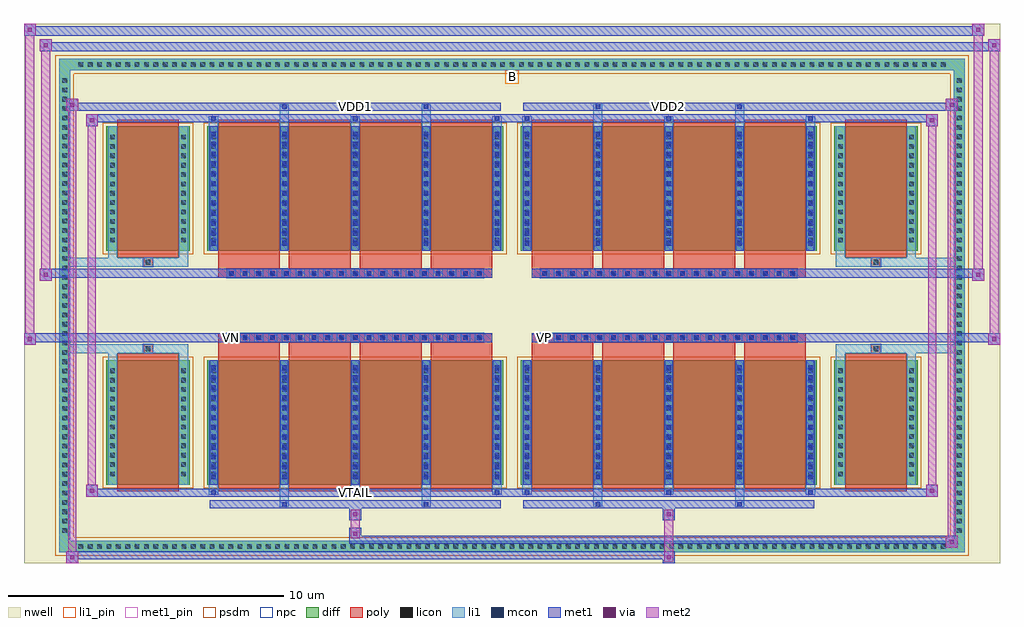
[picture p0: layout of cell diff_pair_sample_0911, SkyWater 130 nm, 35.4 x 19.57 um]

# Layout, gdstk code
import gdstk
lib = gdstk.Library(unit=1e-6, precision=5e-09)
def R(c, l, rs):  # rectangles x0, y0, x1, y1
    for r in rs: c.add(gdstk.rectangle(r[:2], r[2:], *l))
def A(c, l, x, y, w, h, nx, ny, dx, dy):  # array of equal rectangles
    R(c, l, [(x+i*dx, y+j*dy, x+i*dx+w, y+j*dy+h) for i in range(nx) for j in range(ny)])
def P(c, l, *ps):  # polygons
    for p in ps: c.add(gdstk.Polygon(p, *l))
nwell = (64, 20)
diff = (65, 20)
poly = (66, 20)
licon = (66, 44)
li1_pin = (67, 16)
li1 = (67, 20)
mcon = (67, 44)
met1_pin = (68, 16)
met1 = (68, 20)
via = (68, 44)
met2 = (69, 20)
psdm = (94, 20)
npc = (95, 20)

diff_pair_sample_0911 = lib.new_cell('diff_pair_sample_0911')
R(diff_pair_sample_0911, nwell, [(-17.7,-9.35,17.7,10.22), (-15.02,-7.54,-0.01,-0.8), (0.01,-7.54,15.02,-0.8), (-15.02,0.8,-0.01,7.54), (0.01,0.8,15.02,7.54)])
A(diff_pair_sample_0911, diff, -15.845, -8.95, 0.41, 0.41, 93, 2, 0.34, 17.49)
A(diff_pair_sample_0911, diff, -16.43, -8.365, 0.41, 0.41, 1, 49, 0, 0.34)
A(diff_pair_sample_0911, diff, 16.02, -8.365, 0.41, 0.41, 1, 49, 0, 0.34)
R(diff_pair_sample_0911, diff, [(-15.845,-8.95,15.845,-8.54), (-16.43,-8.365,-16.02,8.365), (16.02,-8.365,16.43,8.365), (-14.71,-6.495,-11.69,-1.985), (-11.05,-6.495,-0.32,-1.985), (0.32,-6.495,11.05,-1.985), (11.69,-6.495,14.71,-1.985), (-14.71,1.985,-11.69,6.495), (-11.05,1.985,-0.32,6.495), (0.32,1.985,11.05,6.495), (11.69,1.985,14.71,6.495), (-15.845,8.54,15.845,8.95)])
P(diff_pair_sample_0911, diff, [(16.43,8.95),(-16.43,8.95),(-16.43,-8.54),(-16.02,-8.54),(-16.02,8.54),(16.02,8.54),(16.02,-8.54),(-16.02,-8.54),(-16.43,-8.54),(-16.43,-8.95),(16.43,-8.95)])
A(diff_pair_sample_0911, poly, -10.66, -6.745, 2.24, 5.01, 4, 2, 2.57, 8.48)
A(diff_pair_sample_0911, poly, 0.71, -6.745, 2.24, 5.01, 4, 2, 2.57, 8.48)
A(diff_pair_sample_0911, poly, -10.66, -1.735, 2.24, 0.405, 4, 2, 2.57, 3.065)
A(diff_pair_sample_0911, poly, 0.71, -1.735, 2.24, 0.405, 4, 2, 2.57, 3.065)
A(diff_pair_sample_0911, poly, -10.35, -1.33, 0.33, 0.33, 19, 2, 0.5, 2.33)
A(diff_pair_sample_0911, poly, 1.02, -1.33, 0.33, 0.33, 19, 2, 0.5, 2.33)
R(diff_pair_sample_0911, poly, [(-14.32,-6.745,-12.08,-1.735), (12.08,-6.745,14.32,-1.735), (-13.365,-1.735,-13.035,-1.405), (-13.365,-1.735,-13.035,-1.405), (13.035,-1.735,13.365,-1.405), (13.035,-1.735,13.365,-1.405), (-10.66,-1.33,-0.71,-1), (0.71,-1.33,10.66,-1), (-10.66,1,-0.71,1.33), (0.71,1,10.66,1.33), (-13.365,1.405,-13.035,1.735), (-13.365,1.405,-13.035,1.735), (13.035,1.405,13.365,1.735), (13.035,1.405,13.365,1.735), (-14.32,1.735,-12.08,6.745), (12.08,1.735,14.32,6.745)])
A(diff_pair_sample_0911, licon, -15.725, -8.83, 0.17, 0.17, 93, 2, 0.34, 17.49)
A(diff_pair_sample_0911, licon, -16.31, -8.245, 0.17, 0.17, 1, 49, 0, 0.34)
A(diff_pair_sample_0911, licon, 16.14, -8.245, 0.17, 0.17, 1, 49, 0, 0.34)
A(diff_pair_sample_0911, licon, -14.57, -6.195, 0.17, 0.17, 1, 12, 0, 0.34)
A(diff_pair_sample_0911, licon, -12, -6.195, 0.17, 0.17, 1, 12, 0, 0.34)
A(diff_pair_sample_0911, licon, -10.91, -6.195, 0.17, 0.17, 5, 12, 2.57, 0.34)
A(diff_pair_sample_0911, licon, 0.46, -6.195, 0.17, 0.17, 5, 12, 2.57, 0.34)
A(diff_pair_sample_0911, licon, 11.83, -6.195, 0.17, 0.17, 1, 12, 0, 0.34)
A(diff_pair_sample_0911, licon, 14.4, -6.195, 0.17, 0.17, 1, 12, 0, 0.34)
A(diff_pair_sample_0911, licon, -10.27, -1.25, 0.17, 0.17, 19, 2, 0.5, 2.33)
A(diff_pair_sample_0911, licon, 1.1, -1.25, 0.17, 0.17, 19, 2, 0.5, 2.33)
A(diff_pair_sample_0911, licon, -14.57, 2.285, 0.17, 0.17, 1, 12, 0, 0.34)
A(diff_pair_sample_0911, licon, -12, 2.285, 0.17, 0.17, 1, 12, 0, 0.34)
A(diff_pair_sample_0911, licon, -10.91, 2.285, 0.17, 0.17, 5, 12, 2.57, 0.34)
A(diff_pair_sample_0911, licon, 0.46, 2.285, 0.17, 0.17, 5, 12, 2.57, 0.34)
A(diff_pair_sample_0911, licon, 11.83, 2.285, 0.17, 0.17, 1, 12, 0, 0.34)
A(diff_pair_sample_0911, licon, 14.4, 2.285, 0.17, 0.17, 1, 12, 0, 0.34)
R(diff_pair_sample_0911, licon, [(-13.285,-1.655,-13.115,-1.485), (13.115,-1.655,13.285,-1.485), (-13.285,1.485,-13.115,1.655), (13.115,1.485,13.285,1.655)])
R(diff_pair_sample_0911, li1_pin, [(-0.25,8.04,0.25,8.54)])
A(diff_pair_sample_0911, li1, -15.805, -8.91, 0.33, 0.33, 93, 2, 0.34, 17.49)
A(diff_pair_sample_0911, li1, -16.39, -8.325, 0.33, 0.33, 1, 49, 0, 0.34)
A(diff_pair_sample_0911, li1, 16.06, -8.325, 0.33, 0.33, 1, 49, 0, 0.34)
A(diff_pair_sample_0911, li1, -10.99, -6.87, 0.33, 0.375, 3, 2, 5.14, 13.365)
A(diff_pair_sample_0911, li1, -10.91, -6.87, 0.17, 0.17, 3, 2, 5.14, 13.57)
A(diff_pair_sample_0911, li1, 0.38, -6.87, 0.33, 0.375, 3, 2, 5.14, 13.365)
A(diff_pair_sample_0911, li1, 0.46, -6.87, 0.17, 0.17, 3, 2, 5.14, 13.57)
A(diff_pair_sample_0911, li1, -10.99, -6.495, 0.33, 4.51, 5, 2, 2.57, 8.48)
A(diff_pair_sample_0911, li1, 0.38, -6.495, 0.33, 4.51, 5, 2, 2.57, 8.48)
A(diff_pair_sample_0911, li1, -10.91, -6.305, 0.17, 0.17, 5, 12, 2.57, 0.36)
A(diff_pair_sample_0911, li1, -10.91, -6.305, 0.17, 4.13, 5, 2, 2.57, 8.48)
A(diff_pair_sample_0911, li1, 0.46, -6.305, 0.17, 0.17, 5, 12, 2.57, 0.36)
A(diff_pair_sample_0911, li1, 0.46, -6.305, 0.17, 4.13, 5, 2, 2.57, 8.48)
A(diff_pair_sample_0911, li1, -14.65, -6.275, 0.33, 0.33, 1, 12, 0, 0.34)
A(diff_pair_sample_0911, li1, -12.08, -6.275, 0.33, 0.33, 1, 12, 0, 0.34)
A(diff_pair_sample_0911, li1, -10.99, -6.275, 0.33, 0.33, 5, 12, 2.57, 0.34)
A(diff_pair_sample_0911, li1, 0.38, -6.275, 0.33, 0.33, 5, 12, 2.57, 0.34)
A(diff_pair_sample_0911, li1, 11.75, -6.275, 0.33, 0.33, 1, 12, 0, 0.34)
A(diff_pair_sample_0911, li1, 14.32, -6.275, 0.33, 0.33, 1, 12, 0, 0.34)
A(diff_pair_sample_0911, li1, -10.35, -1.33, 0.33, 0.33, 19, 2, 0.5, 2.33)
A(diff_pair_sample_0911, li1, 1.02, -1.33, 0.33, 0.33, 19, 2, 0.5, 2.33)
A(diff_pair_sample_0911, li1, -10.91, 2.175, 0.17, 0.17, 5, 12, 2.57, 0.36)
A(diff_pair_sample_0911, li1, 0.46, 2.175, 0.17, 0.17, 5, 12, 2.57, 0.36)
A(diff_pair_sample_0911, li1, -14.65, 2.205, 0.33, 0.33, 1, 12, 0, 0.34)
A(diff_pair_sample_0911, li1, -12.08, 2.205, 0.33, 0.33, 1, 12, 0, 0.34)
A(diff_pair_sample_0911, li1, -10.99, 2.205, 0.33, 0.33, 5, 12, 2.57, 0.34)
A(diff_pair_sample_0911, li1, 0.38, 2.205, 0.33, 0.33, 5, 12, 2.57, 0.34)
A(diff_pair_sample_0911, li1, 11.75, 2.205, 0.33, 0.33, 1, 12, 0, 0.34)
A(diff_pair_sample_0911, li1, 14.32, 2.205, 0.33, 0.33, 1, 12, 0, 0.34)
R(diff_pair_sample_0911, li1, [(-16.43,-8.95,-16.02,-8.54), (-16.43,-8.95,-16.02,-8.54), (-16.02,-8.95,16.02,-8.54), (16.02,-8.95,16.43,-8.54), (16.02,-8.95,16.43,-8.54), (-16.43,-8.54,-16.02,8.54), (16.02,-8.54,16.43,8.54), (-8.42,-7.3,-8.09,-6.495), (-8.34,-7.3,-8.17,-7.13), (-3.28,-7.3,-2.95,-6.495), (-3.2,-7.3,-3.03,-7.13), (2.95,-7.3,3.28,-6.495), (3.03,-7.3,3.2,-7.13), (8.09,-7.3,8.42,-6.495), (8.17,-7.3,8.34,-7.13), (-14.65,-6.495,-14.32,-1.985), (-12.08,-6.495,-11.75,-1.985), (11.75,-6.495,12.08,-1.985), (14.32,-6.495,14.65,-1.985), (-14.65,-1.985,-14.32,-1.405), (-12.08,-1.985,-11.75,-1.405), (11.75,-1.985,12.08,-1.405), (14.32,-1.985,14.65,-1.405), (-16.43,-1.735,-13.365,-1.405), (-14.65,-1.735,-13.365,-1.405), (-13.365,-1.735,-13.035,-1.405), (-13.035,-1.735,-11.75,-1.405), (11.75,-1.735,13.035,-1.405), (13.035,-1.735,13.365,-1.405), (13.035,-1.735,16.43,-1.405), (13.365,-1.735,14.65,-1.405), (-16.43,1.405,-13.365,1.735), (-14.65,1.405,-13.365,1.735), (-14.65,1.405,-14.32,1.985), (-13.365,1.405,-13.035,1.735), (-13.035,1.405,-11.75,1.735), (-12.08,1.405,-11.75,1.985), (11.75,1.405,13.035,1.735), (11.75,1.405,12.08,1.985), (13.035,1.405,13.365,1.735), (13.035,1.405,16.43,1.735), (13.365,1.405,14.65,1.735), (14.32,1.405,14.65,1.985), (-14.65,1.985,-14.32,6.495), (-12.08,1.985,-11.75,6.495), (11.75,1.985,12.08,6.495), (14.32,1.985,14.65,6.495), (-8.42,6.495,-8.09,7.3), (-3.28,6.495,-2.95,7.3), (2.95,6.495,3.28,7.3), (8.09,6.495,8.42,7.3), (-8.34,7.13,-8.17,7.3), (-3.2,7.13,-3.03,7.3), (3.03,7.13,3.2,7.3), (8.17,7.13,8.34,7.3), (-16.43,8.54,-16.02,8.95), (-16.43,8.54,-16.02,8.95), (-16.02,8.54,16.02,8.95), (16.02,8.54,16.43,8.95), (16.02,8.54,16.43,8.95)])
A(diff_pair_sample_0911, mcon, -10.91, -6.87, 0.17, 0.17, 3, 2, 5.14, 13.57)
A(diff_pair_sample_0911, mcon, 0.46, -6.87, 0.17, 0.17, 3, 2, 5.14, 13.57)
A(diff_pair_sample_0911, mcon, -10.91, -6.305, 0.17, 0.17, 5, 12, 2.57, 0.36)
A(diff_pair_sample_0911, mcon, 0.46, -6.305, 0.17, 0.17, 5, 12, 2.57, 0.36)
A(diff_pair_sample_0911, mcon, -10.27, -1.25, 0.17, 0.17, 19, 2, 0.5, 2.33)
A(diff_pair_sample_0911, mcon, 1.1, -1.25, 0.17, 0.17, 19, 2, 0.5, 2.33)
A(diff_pair_sample_0911, mcon, -10.91, 2.175, 0.17, 0.17, 5, 12, 2.57, 0.36)
A(diff_pair_sample_0911, mcon, 0.46, 2.175, 0.17, 0.17, 5, 12, 2.57, 0.36)
R(diff_pair_sample_0911, mcon, [(-8.34,-7.3,-8.17,-7.13), (-3.2,-7.3,-3.03,-7.13), (3.03,-7.3,3.2,-7.13), (8.17,-7.3,8.34,-7.13), (-8.34,7.13,-8.17,7.3), (-3.2,7.13,-3.03,7.3), (3.03,7.13,3.2,7.3), (8.17,7.13,8.34,7.3)])
R(diff_pair_sample_0911, met1_pin, [(-5.82,-6.91,-5.55,-6.64), (-10.32,-1.29,-10.05,-1.02), (1.05,-1.29,1.32,-1.02), (-5.82,7.09,-5.55,7.36), (5.55,7.09,5.82,7.36)])
A(diff_pair_sample_0911, met1, -10.97, -6.93, 0.29, 0.29, 3, 2, 5.14, 13.57)
A(diff_pair_sample_0911, met1, 0.4, -6.93, 0.29, 0.29, 3, 2, 5.14, 13.57)
A(diff_pair_sample_0911, met1, -10.97, -6.495, 0.29, 4.51, 5, 2, 2.57, 8.48)
A(diff_pair_sample_0911, met1, 0.4, -6.495, 0.29, 4.51, 5, 2, 2.57, 8.48)
A(diff_pair_sample_0911, met1, -10.97, -6.365, 0.29, 0.29, 5, 12, 2.57, 0.36)
A(diff_pair_sample_0911, met1, 0.4, -6.365, 0.29, 0.29, 5, 12, 2.57, 0.36)
A(diff_pair_sample_0911, met1, -10.33, -1.31, 0.29, 0.29, 19, 2, 0.5, 2.33)
A(diff_pair_sample_0911, met1, 1.04, -1.31, 0.29, 0.29, 19, 2, 0.5, 2.33)
A(diff_pair_sample_0911, met1, -10.97, 2.115, 0.29, 0.29, 5, 12, 2.57, 0.36)
A(diff_pair_sample_0911, met1, 0.4, 2.115, 0.29, 0.29, 5, 12, 2.57, 0.36)
R(diff_pair_sample_0911, met1, [(-16.16,-9.35,-15.73,-8.92), (5.47,-9.35,5.9,-8.92), (-16.16,-9.21,5.9,-8.92), (15.73,-8.78,16.16,-8.35), (-5.9,-8.64,16.16,-8.35), (-5.9,-8.5,-5.47,-8.07), (-5.9,-7.79,-5.47,-7.36), (5.47,-7.79,5.9,-7.36), (-10.97,-7.36,-0.4,-7.07), (-8.4,-7.36,-8.11,-7.07), (-3.26,-7.36,-2.97,-7.07), (0.4,-7.36,10.97,-7.07), (2.97,-7.36,3.26,-7.07), (8.11,-7.36,8.4,-7.07), (-15.45,-6.93,-15.02,-6.5), (-15.45,-6.93,-10.97,-6.64), (-10.97,-6.93,-0.4,-6.64), (-0.4,-6.93,0.4,-6.64), (0.4,-6.93,10.97,-6.64), (10.97,-6.93,15.45,-6.64), (15.02,-6.93,15.45,-6.5), (-17.7,-1.43,-17.27,-1), (17.27,-1.43,17.7,-1), (-17.7,-1.33,-0.71,-1), (-10.66,-1.33,-0.71,-1), (0.71,-1.33,10.66,-1), (0.71,-1.33,17.7,-1), (-17.13,0.9,-16.7,1.33), (16.7,0.9,17.13,1.33), (-17.13,1,-10.66,1.33), (-10.66,1,-0.71,1.33), (0.71,1,10.66,1.33), (10.66,1,17.13,1.33), (-15.45,6.5,-15.02,6.93), (15.02,6.5,15.45,6.93), (-15.45,6.64,-10.97,6.93), (-10.97,6.64,-0.4,6.93), (-0.4,6.64,0.4,6.93), (0.4,6.64,10.97,6.93), (10.97,6.64,15.45,6.93), (-16.16,7.07,-15.73,7.5), (-16.16,7.07,-10.97,7.36), (-10.97,7.07,-0.4,7.36), (-8.4,7.07,-8.11,7.36), (-3.26,7.07,-2.97,7.36), (0.4,7.07,10.97,7.36), (2.97,7.07,3.26,7.36), (8.11,7.07,8.4,7.36), (10.97,7.07,16.16,7.36), (15.73,7.07,16.16,7.5), (-17.13,9.22,-16.7,9.65), (-17.13,9.22,-15.02,9.55), (-15.02,9.22,15.02,9.55), (15.02,9.22,17.7,9.55), (17.27,9.22,17.7,9.65), (-17.7,9.79,-17.27,10.22), (-17.7,9.79,-15.02,10.12), (-15.02,9.79,15.02,10.12), (15.02,9.79,17.13,10.12), (16.7,9.79,17.13,10.22)])
R(diff_pair_sample_0911, via, [(-16.02,-9.21,-15.87,-9.06), (5.61,-9.21,5.76,-9.06), (15.87,-8.64,16.02,-8.49), (-5.76,-8.36,-5.61,-8.21), (-5.76,-7.65,-5.61,-7.5), (5.61,-7.65,5.76,-7.5), (-15.31,-6.79,-15.16,-6.64), (15.16,-6.79,15.31,-6.64), (-17.56,-1.29,-17.41,-1.14), (17.41,-1.29,17.56,-1.14), (-16.99,1.04,-16.84,1.19), (16.84,1.04,16.99,1.19), (-15.31,6.64,-15.16,6.79), (15.16,6.64,15.31,6.79), (-16.02,7.21,-15.87,7.36), (15.87,7.21,16.02,7.36), (-16.99,9.36,-16.84,9.51), (17.41,9.36,17.56,9.51), (-17.56,9.93,-17.41,10.08), (16.84,9.93,16.99,10.08)])
R(diff_pair_sample_0911, met2, [(-16.16,-9.35,-15.73,-8.92), (-16.09,-9.35,-15.8,7.5), (-15.8,-9.35,-15.73,-8.92), (-16.11,-9.3,-15.78,-8.97), (5.52,-9.3,5.85,-8.97), (5.52,-8.97,5.85,-7.74), (15.73,-8.78,16.16,-8.35), (15.8,-8.78,16.09,7.5), (16.09,-8.78,16.16,-8.35), (15.78,-8.73,16.11,-8.4), (-5.85,-8.45,-5.52,-8.12), (-5.85,-8.12,-5.52,-7.74), (-5.85,-7.74,-5.52,-7.41), (5.52,-7.74,5.85,-7.41), (-15.45,-6.93,-15.02,-6.5), (-15.38,-6.93,-15.09,6.93), (-15.09,-6.93,-15.02,-6.5), (15.02,-6.93,15.45,-6.5), (15.09,-6.93,15.38,6.93), (15.38,-6.93,15.45,-6.5), (-15.4,-6.88,-15.07,-6.55), (15.07,-6.88,15.4,-6.55), (-17.7,-1.43,-17.27,-1), (-17.65,-1.43,-17.32,10.22), (-17.32,-1.43,-17.27,-1), (17.27,-1.43,17.7,-1), (17.32,-1.43,17.65,9.65), (17.65,-1.43,17.7,-1), (-17.65,-1.38,-17.32,-1.05), (17.32,-1.38,17.65,-1.05), (-17.13,0.9,-16.7,1.33), (-17.08,0.9,-16.75,9.65), (-16.75,0.9,-16.7,1.33), (16.7,0.9,17.13,1.33), (16.75,0.9,17.08,10.22), (17.08,0.9,17.13,1.33), (-17.08,0.95,-16.75,1.28), (16.75,0.95,17.08,1.28), (-15.45,6.5,-15.02,6.93), (-15.09,6.5,-15.02,6.93), (15.02,6.5,15.45,6.93), (15.38,6.5,15.45,6.93), (-15.4,6.55,-15.07,6.88), (15.07,6.55,15.4,6.88), (-16.16,7.07,-15.73,7.5), (-15.8,7.07,-15.73,7.5), (15.73,7.07,16.16,7.5), (16.09,7.07,16.16,7.5), (-16.11,7.12,-15.78,7.45), (15.78,7.12,16.11,7.45), (-17.13,9.22,-16.7,9.65), (-16.75,9.22,-16.7,9.65), (17.27,9.22,17.7,9.65), (17.65,9.22,17.7,9.65), (-17.08,9.27,-16.75,9.6), (17.32,9.27,17.65,9.6), (-17.7,9.79,-17.27,10.22), (-17.32,9.79,-17.27,10.22), (16.7,9.79,17.13,10.22), (17.08,9.79,17.13,10.22), (-17.65,9.84,-17.32,10.17), (16.75,9.84,17.08,10.17)])
R(diff_pair_sample_0911, psdm, [(-14.84,-6.625,-11.56,-1.855), (-11.18,-6.625,-0.19,-1.855), (0.19,-6.625,11.18,-1.855), (11.56,-6.625,14.84,-1.855), (-14.84,1.855,-11.56,6.625), (-11.18,1.855,-0.19,6.625), (0.19,1.855,11.18,6.625), (11.56,1.855,14.84,6.625)])
P(diff_pair_sample_0911, psdm, [(16.56,9.08),(-16.56,9.08),(-16.56,-8.41),(-15.89,-8.41),(-15.89,8.41),(15.89,8.41),(15.89,-8.41),(-15.89,-8.41),(-16.56,-8.41),(-16.56,-9.08),(16.56,-9.08)])
A(diff_pair_sample_0911, npc, -10.37, -1.35, 0.37, 0.37, 19, 2, 0.5, 2.33)
A(diff_pair_sample_0911, npc, 1, -1.35, 0.37, 0.37, 19, 2, 0.5, 2.33)
R(diff_pair_sample_0911, npc, [(-13.385,-1.755,-13.015,-1.385), (13.015,-1.755,13.385,-1.385), (-10.37,-1.35,-9.5,-0.98), (-10.37,-1.35,-9.5,-0.98), (-9.87,-1.35,-9,-0.98), (-9.87,-1.35,-9,-0.98), (-9.37,-1.35,-8.5,-0.98), (-9.37,-1.35,-8.5,-0.98), (-8.87,-1.35,-8,-0.98), (-8.87,-1.35,-8,-0.98), (-8.37,-1.35,-7.5,-0.98), (-8.37,-1.35,-7.5,-0.98), (-7.87,-1.35,-7,-0.98), (-7.87,-1.35,-7,-0.98), (-7.37,-1.35,-6.5,-0.98), (-7.37,-1.35,-6.5,-0.98), (-6.87,-1.35,-6,-0.98), (-6.87,-1.35,-6,-0.98), (-6.37,-1.35,-5.5,-0.98), (-6.37,-1.35,-5.5,-0.98), (-5.87,-1.35,-5,-0.98), (-5.87,-1.35,-5,-0.98), (-5.37,-1.35,-4.5,-0.98), (-5.37,-1.35,-4.5,-0.98), (-4.87,-1.35,-4,-0.98), (-4.87,-1.35,-4,-0.98), (-4.37,-1.35,-3.5,-0.98), (-4.37,-1.35,-3.5,-0.98), (-3.87,-1.35,-3,-0.98), (-3.87,-1.35,-3,-0.98), (-3.37,-1.35,-2.5,-0.98), (-3.37,-1.35,-2.5,-0.98), (-2.87,-1.35,-2,-0.98), (-2.87,-1.35,-2,-0.98), (-2.37,-1.35,-1.5,-0.98), (-2.37,-1.35,-1.5,-0.98), (-1.87,-1.35,-1,-0.98), (-1.87,-1.35,-1,-0.98), (1,-1.35,1.87,-0.98), (1,-1.35,1.87,-0.98), (1.5,-1.35,2.37,-0.98), (1.5,-1.35,2.37,-0.98), (2,-1.35,2.87,-0.98), (2,-1.35,2.87,-0.98), (2.5,-1.35,3.37,-0.98), (2.5,-1.35,3.37,-0.98), (3,-1.35,3.87,-0.98), (3,-1.35,3.87,-0.98), (3.5,-1.35,4.37,-0.98), (3.5,-1.35,4.37,-0.98), (4,-1.35,4.87,-0.98), (4,-1.35,4.87,-0.98), (4.5,-1.35,5.37,-0.98), (4.5,-1.35,5.37,-0.98), (5,-1.35,5.87,-0.98), (5,-1.35,5.87,-0.98), (5.5,-1.35,6.37,-0.98), (5.5,-1.35,6.37,-0.98), (6,-1.35,6.87,-0.98), (6,-1.35,6.87,-0.98), (6.5,-1.35,7.37,-0.98), (6.5,-1.35,7.37,-0.98), (7,-1.35,7.87,-0.98), (7,-1.35,7.87,-0.98), (7.5,-1.35,8.37,-0.98), (7.5,-1.35,8.37,-0.98), (8,-1.35,8.87,-0.98), (8,-1.35,8.87,-0.98), (8.5,-1.35,9.37,-0.98), (8.5,-1.35,9.37,-0.98), (9,-1.35,9.87,-0.98), (9,-1.35,9.87,-0.98), (9.5,-1.35,10.37,-0.98), (9.5,-1.35,10.37,-0.98), (-10.37,0.98,-9.5,1.35), (-10.37,0.98,-9.5,1.35), (-9.87,0.98,-9,1.35), (-9.87,0.98,-9,1.35), (-9.37,0.98,-8.5,1.35), (-9.37,0.98,-8.5,1.35), (-8.87,0.98,-8,1.35), (-8.87,0.98,-8,1.35), (-8.37,0.98,-7.5,1.35), (-8.37,0.98,-7.5,1.35), (-7.87,0.98,-7,1.35), (-7.87,0.98,-7,1.35), (-7.37,0.98,-6.5,1.35), (-7.37,0.98,-6.5,1.35), (-6.87,0.98,-6,1.35), (-6.87,0.98,-6,1.35), (-6.37,0.98,-5.5,1.35), (-6.37,0.98,-5.5,1.35), (-5.87,0.98,-5,1.35), (-5.87,0.98,-5,1.35), (-5.37,0.98,-4.5,1.35), (-5.37,0.98,-4.5,1.35), (-4.87,0.98,-4,1.35), (-4.87,0.98,-4,1.35), (-4.37,0.98,-3.5,1.35), (-4.37,0.98,-3.5,1.35), (-3.87,0.98,-3,1.35), (-3.87,0.98,-3,1.35), (-3.37,0.98,-2.5,1.35), (-3.37,0.98,-2.5,1.35), (-2.87,0.98,-2,1.35), (-2.87,0.98,-2,1.35), (-2.37,0.98,-1.5,1.35), (-2.37,0.98,-1.5,1.35), (-1.87,0.98,-1,1.35), (-1.87,0.98,-1,1.35), (1,0.98,1.87,1.35), (1,0.98,1.87,1.35), (1.5,0.98,2.37,1.35), (1.5,0.98,2.37,1.35), (2,0.98,2.87,1.35), (2,0.98,2.87,1.35), (2.5,0.98,3.37,1.35), (2.5,0.98,3.37,1.35), (3,0.98,3.87,1.35), (3,0.98,3.87,1.35), (3.5,0.98,4.37,1.35), (3.5,0.98,4.37,1.35), (4,0.98,4.87,1.35), (4,0.98,4.87,1.35), (4.5,0.98,5.37,1.35), (4.5,0.98,5.37,1.35), (5,0.98,5.87,1.35), (5,0.98,5.87,1.35), (5.5,0.98,6.37,1.35), (5.5,0.98,6.37,1.35), (6,0.98,6.87,1.35), (6,0.98,6.87,1.35), (6.5,0.98,7.37,1.35), (6.5,0.98,7.37,1.35), (7,0.98,7.87,1.35), (7,0.98,7.87,1.35), (7.5,0.98,8.37,1.35), (7.5,0.98,8.37,1.35), (8,0.98,8.87,1.35), (8,0.98,8.87,1.35), (8.5,0.98,9.37,1.35), (8.5,0.98,9.37,1.35), (9,0.98,9.87,1.35), (9,0.98,9.87,1.35), (9.5,0.98,10.37,1.35), (9.5,0.98,10.37,1.35), (-13.385,1.385,-13.015,1.755), (13.015,1.385,13.385,1.755)])
diff_pair_sample_0911.add(gdstk.Label('VTAIL', (-5.685,-6.775), layer=68, texttype=5))
diff_pair_sample_0911.add(gdstk.Label('VN', (-10.185,-1.155), layer=68, texttype=5))
diff_pair_sample_0911.add(gdstk.Label('VP', (1.185,-1.155), layer=68, texttype=5))
diff_pair_sample_0911.add(gdstk.Label('B', (0,8.29), layer=67, texttype=5))
diff_pair_sample_0911.add(gdstk.Label('VDD2', (5.685,7.225), layer=68, texttype=5))
diff_pair_sample_0911.add(gdstk.Label('VDD1', (-5.685,7.225), layer=68, texttype=5))

lib.write_gds('diff_pair_sample_0911.gds')
